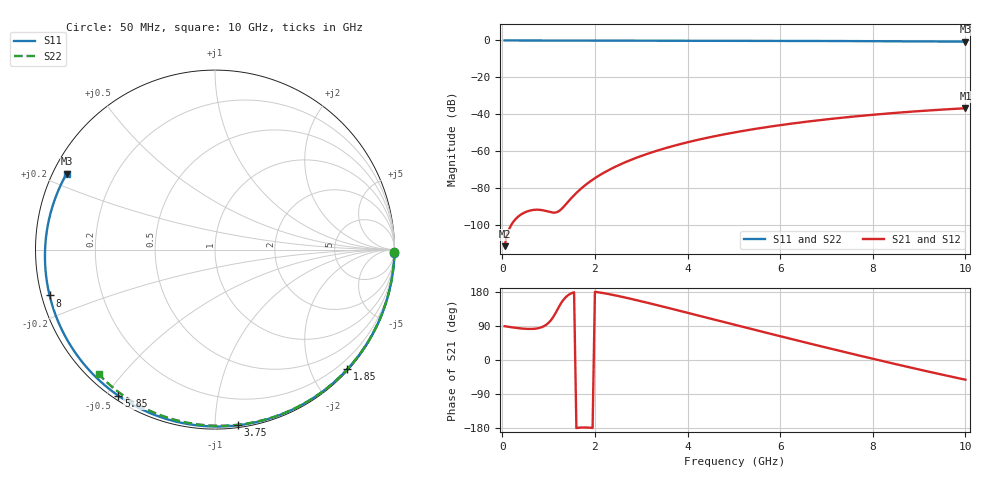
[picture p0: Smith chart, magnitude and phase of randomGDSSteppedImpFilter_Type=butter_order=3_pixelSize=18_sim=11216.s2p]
! freq	dB(S11)	phase(S11)	dB(S12)	phase(S12)
!  dB(S21)	phase(S21)	dB(S22)	phase(S22)
!S-par simulation data
#  GHz  S  DB  R 50
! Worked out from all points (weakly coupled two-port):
!   200 points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, 50 MHz to 10 GHz, reference 50 ohm
!   highest |S21| = -36.80 dB at 10 GHz (marker M1); lowest = -111.7 dB at 50 MHz (marker M2)
!   lowest |S11| = -0.6 dB at 10 GHz (marker M3), VSWR 27.07, Z = 1.95 + j12 ohm
!   |S11| at or under -10 dB: nowhere
!   |S22| runs from -0.5 to 0.0 dB; largest |S21 - S12| = 0
!   S11 on the Smith chart (normalised r, x): 50 MHz: 0, -98; 1.85 GHz: 0.02, -2.60; 3.75 GHz: 0.01, -1.14; 5.85 GHz: 0.02, -0.54; 8 GHz: 0.02, -0.14; 10 GHz: 0.04, +0.24
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0.05  -0.00 -1.2  -111.69 89.3  -111.69 89.3  -0.00 -0.8
0.45  -0.01 -10.4  -93.81 82.8  -93.81 82.8  -0.01 -6.8
0.85  -0.02 -19.6  -92.09 86.6  -92.09 86.6  -0.02 -12.9
1.25  -0.04 -28.7  -92.17 146.1  -92.17 146.1  -0.02 -18.9
1.7  -0.05 -38.8  -80.47 -178.2  -80.47 -178.2  -0.03 -25.6
1.75  -0.05 -39.9  -79.40 -178.0  -79.40 -178.0  -0.03 -26.3
1.85  -0.05 -42.1  -77.41 -178.3  -77.41 -178.3  -0.04 -27.8
2.15  -0.06 -48.7  -72.43 177.2  -72.43 177.2  -0.04 -32.2
2.5  -0.07 -56.3  -67.86 169.0  -67.86 169.0  -0.05 -37.3
2.9  -0.08 -64.9  -63.65 157.9  -63.65 157.9  -0.06 -43.0
3.4  -0.10 -75.3  -59.39 143.0  -59.39 143.0  -0.07 -50.1
3.75  -0.11 -82.5  -56.89 132.3  -56.89 132.3  -0.07 -55.0
4.4  -0.14 -95.5  -52.97 112.2  -52.97 112.2  -0.09 -63.9
5.05  -0.17 -108.2  -49.77 92.0  -49.77 92.0  -0.11 -72.6
5.85  -0.21 -123.4  -46.53 67.3  -46.53 67.3  -0.14 -82.9
6.7  -0.27 -139.5  -43.72 41.6  -43.72 41.6  -0.18 -93.6
7.35  -0.32 -151.9  -41.91 22.3  -41.91 22.3  -0.22 -101.5
8  -0.39 -164.5  -40.35 3.3  -40.35 3.3  -0.26 -109.3
8.35  -0.43 -171.5  -39.60 -6.8  -39.60 -6.8  -0.29 -113.4
9.2  -0.53 170.9  -38.02 -30.6  -38.02 -30.6  -0.36 -123.5
9.6  -0.58 162.1  -37.38 -41.4  -37.38 -41.4  -0.40 -128.2
10  -0.64 152.9  -36.80 -52.0  -36.80 -52.0  -0.45 -133.0
